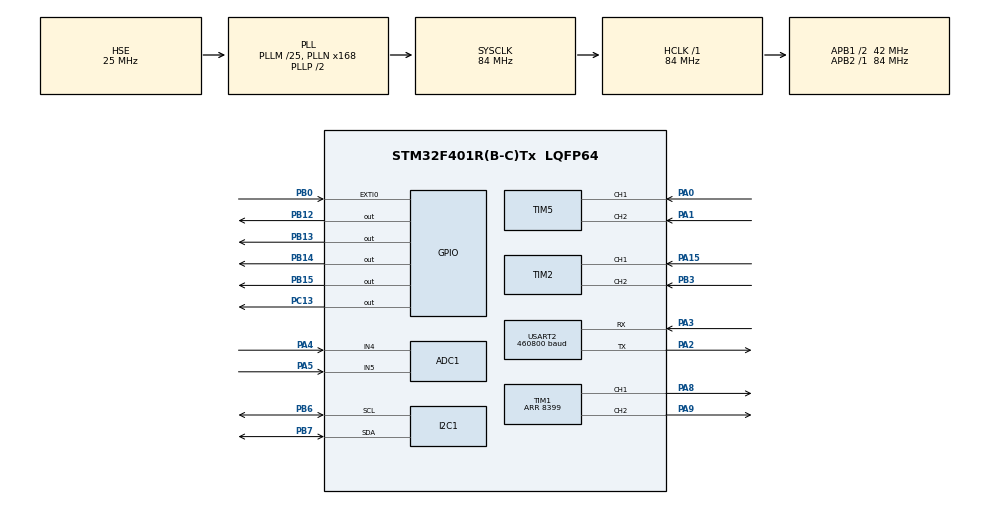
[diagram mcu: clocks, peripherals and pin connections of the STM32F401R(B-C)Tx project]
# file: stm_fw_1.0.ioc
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ADC1.Channel-0\#ChannelRegularConversion=ADC_CHANNEL_4
ADC1.Channel-1\#ChannelRegularConversion=ADC_CHANNEL_4
ADC1.ContinuousConvMode=ENABLE
ADC1.NbrOfConversion=2
ADC1.NbrOfConversionFlag=1
ADC1.Rank-0\#ChannelRegularConversion=1
ADC1.Rank-1\#ChannelRegularConversion=2
ADC1.SamplingTime-0\#ChannelRegularConversion=ADC_SAMPLETIME_3CYCLES
ADC1.SamplingTime-1\#ChannelRegularConversion=ADC_SAMPLETIME_3CYCLES
ADC1.ScanConvMode=ENABLE
ADC1.master=1
Dma.ADC1.3.Direction=DMA_PERIPH_TO_MEMORY
Dma.ADC1.3.FIFOMode=DMA_FIFOMODE_DISABLE
Dma.ADC1.3.Instance=DMA2_Stream0
Dma.ADC1.3.MemDataAlignment=DMA_MDATAALIGN_HALFWORD
Dma.ADC1.3.MemInc=DMA_MINC_ENABLE
Dma.ADC1.3.Mode=DMA_CIRCULAR
Dma.ADC1.3.PeriphDataAlignment=DMA_PDATAALIGN_HALFWORD
Dma.ADC1.3.PeriphInc=DMA_PINC_DISABLE
Dma.ADC1.3.Priority=DMA_PRIORITY_LOW
Dma.I2C1_RX.0.Direction=DMA_PERIPH_TO_MEMORY
Dma.I2C1_RX.0.FIFOMode=DMA_FIFOMODE_DISABLE
Dma.I2C1_RX.0.Instance=DMA1_Stream0
Dma.I2C1_RX.0.MemDataAlignment=DMA_MDATAALIGN_BYTE
Dma.I2C1_RX.0.MemInc=DMA_MINC_ENABLE
Dma.I2C1_RX.0.Mode=DMA_NORMAL
Dma.I2C1_RX.0.PeriphDataAlignment=DMA_PDATAALIGN_BYTE
Dma.I2C1_RX.0.PeriphInc=DMA_PINC_DISABLE
Dma.I2C1_RX.0.Priority=DMA_PRIORITY_MEDIUM
Dma.Request0=I2C1_RX
Dma.Request1=USART2_RX
Dma.Request2=USART2_TX
Dma.Request3=ADC1
Dma.USART2_RX.1.Direction=DMA_PERIPH_TO_MEMORY
Dma.USART2_RX.1.FIFOMode=DMA_FIFOMODE_DISABLE
Dma.USART2_RX.1.Instance=DMA1_Stream5
Dma.USART2_RX.1.MemDataAlignment=DMA_MDATAALIGN_BYTE
Dma.USART2_RX.1.MemInc=DMA_MINC_ENABLE
Dma.USART2_RX.1.Mode=DMA_CIRCULAR
Dma.USART2_RX.1.PeriphDataAlignment=DMA_PDATAALIGN_BYTE
Dma.USART2_RX.1.PeriphInc=DMA_PINC_DISABLE
Dma.USART2_RX.1.Priority=DMA_PRIORITY_HIGH
Dma.USART2_TX.2.Direction=DMA_MEMORY_TO_PERIPH
Dma.USART2_TX.2.FIFOMode=DMA_FIFOMODE_DISABLE
Dma.USART2_TX.2.Instance=DMA1_Stream6
Dma.USART2_TX.2.MemDataAlignment=DMA_MDATAALIGN_BYTE
Dma.USART2_TX.2.MemInc=DMA_MINC_ENABLE
Dma.USART2_TX.2.Mode=DMA_NORMAL
Dma.USART2_TX.2.PeriphDataAlignment=DMA_PDATAALIGN_BYTE
Dma.USART2_TX.2.PeriphInc=DMA_PINC_DISABLE
Dma.USART2_TX.2.Priority=DMA_PRIORITY_MEDIUM
I2C1.I2C_Mode=I2C_Fast
Mcu.Family=STM32F4
Mcu.Name=STM32F401R(B-C)Tx
Mcu.Package=LQFP64
NVIC.DMA1_Stream0_IRQn=true\:0\:0\:false\:false\:true\:false\:true\:true
NVIC.DMA1_Stream5_IRQn=true\:0\:0\:false\:false\:true\:false\:true\:true
NVIC.DMA1_Stream6_IRQn=true\:0\:0\:false\:false\:true\:false\:true\:true
NVIC.DMA2_Stream0_IRQn=true\:0\:0\:false\:false\:true\:false\:true\:true
NVIC.EXTI0_IRQn=true\:0\:0\:false\:false\:true\:true\:true\:true
NVIC.PriorityGroup=NVIC_PRIORITYGROUP_4
NVIC.TIM1_TRG_COM_TIM11_IRQn=true\:15\:0\:false\:false\:true\:false\:true\:true
NVIC.TIM3_IRQn=true\:0\:0\:false\:false\:true\:true\:true\:true
NVIC.TIM4_IRQn=true\:0\:0\:false\:false\:true\:true\:true\:true
NVIC.TimeBase=TIM1_TRG_COM_TIM11_IRQn
NVIC.TimeBaseIP=TIM11
NVIC.USART2_IRQn=true\:0\:0\:false\:false\:true\:true\:true\:true
PA0-WKUP.Signal=S_TIM5_CH1
PA1.Signal=S_TIM5_CH2
PA13.Mode=Serial_Wire
PA13.Signal=SYS_JTMS-SWDIO
PA14.Mode=Serial_Wire
PA14.Signal=SYS_JTCK-SWCLK
PA15.Signal=S_TIM2_CH1_ETR
PA2.Mode=Asynchronous
PA2.Signal=USART2_TX
PA3.Mode=Asynchronous
PA3.Signal=USART2_RX
PA4.Signal=ADCx_IN4
PA5.Signal=ADCx_IN5
PA8.Signal=S_TIM1_CH1
PA9.Signal=S_TIM1_CH2
PB0.Signal=GPXTI0
PB12.Signal=GPIO_Output
PB13.Signal=GPIO_Output
PB14.Signal=GPIO_Output
PB15.Signal=GPIO_Output
PB3.Signal=S_TIM2_CH2
PB6.Mode=I2C
PB6.Signal=I2C1_SCL
PB7.Mode=I2C
PB7.Signal=I2C1_SDA
PC13-ANTI_TAMP.Signal=GPIO_Output
PH0\ -\ OSC_IN.Mode=HSE-External-Oscillator
PH0\ -\ OSC_IN.Signal=RCC_OSC_IN
PH1\ -\ OSC_OUT.Mode=HSE-External-Oscillator
PH1\ -\ OSC_OUT.Signal=RCC_OSC_OUT
ProjectManager.HeapSize=0x200
ProjectManager.StackSize=0x400
ProjectManager.TargetToolchain=STM32CubeIDE
RCC.48MHZClocksFreq_Value=42000000
RCC.AHBFreq_Value=84000000
RCC.APB1CLKDivider=RCC_HCLK_DIV2
RCC.APB1Freq_Value=42000000
RCC.APB1TimFreq_Value=84000000
RCC.APB2Freq_Value=84000000
RCC.APB2TimFreq_Value=84000000
RCC.CortexFreq_Value=84000000
RCC.HCLKFreq_Value=84000000
RCC.HSE_VALUE=25000000
RCC.HSI_VALUE=16000000
RCC.LSE_VALUE=32768
RCC.PLLM=25
RCC.PLLN=168
RCC.PLLSourceVirtual=RCC_PLLSOURCE_HSE
RCC.SYSCLKFreq_VALUE=84000000
RCC.SYSCLKSource=RCC_SYSCLKSOURCE_PLLCLK
RCC.VCOOutputFreq_Value=168000000
SH.ADCx_IN4.0=ADC1_IN4,IN4
SH.ADCx_IN5.0=ADC1_IN5,IN5
SH.S_TIM1_CH1.0=TIM1_CH1,PWM Generation1 CH1
SH.S_TIM1_CH2.0=TIM1_CH2,PWM Generation2 CH2
SH.S_TIM2_CH1_ETR.0=TIM2_CH1,Encoder_Interface
SH.S_TIM2_CH2.0=TIM2_CH2,Encoder_Interface
SH.S_TIM5_CH1.0=TIM5_CH1,Encoder_Interface
SH.S_TIM5_CH2.0=TIM5_CH2,Encoder_Interface
TIM1.Channel-PWM\ Generation1\ CH1=TIM_CHANNEL_1
TIM1.Channel-PWM\ Generation2\ CH2=TIM_CHANNEL_2
TIM1.Period=8399
TIM2.EncoderMode=TIM_ENCODERMODE_TI12
TIM3.Prescaler=83
TIM4.AutoReloadPreload=TIM_AUTORELOAD_PRELOAD_ENABLE
TIM4.Period=9999
TIM4.Prescaler=83
TIM5.EncoderMode=TIM_ENCODERMODE_TI12
USART2.BaudRate=460800
USART2.VirtualMode=VM_ASYNC
VP_SYS_VS_tim11.Mode=TIM11
VP_TIM1_VS_ClockSourceINT.Mode=Internal
VP_TIM3_VS_ClockSourceINT.Mode=Internal
VP_TIM4_VS_ClockSourceINT.Mode=Internal
board=custom

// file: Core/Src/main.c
/* USER CODE BEGIN Header */
/**
  ******************************************************************************
  * @file           : main.c
  * @brief          : Main program body
  ******************************************************************************
  * @attention
  *
  * Copyright (c) 2026 STMicroelectronics.
  * All rights reserved.
  *
  * This software is licensed under terms that can be found in the LICENSE file
  * in the root directory of this software component.
  * If no LICENSE file comes with this software, it is provided AS-IS.
  *
  ******************************************************************************
  */
/* USER CODE END Header */
#include "main.h"

/* USER CODE BEGIN Includes */
#include <string.h>
/* USER CODE END Includes */

/* USER CODE BEGIN PTD */
typedef struct {
    float Kp, Ki, Kd;
    float integral;
    float last_error;
    float out_min, out_max;
} PID_TypeDef;

typedef struct __attribute__((packed)) {
    uint16_t header;      // 2 bytes: 0xABCD
    uint32_t timestamp;   // INSTANTE DE LA INT DE LA IMU

    int32_t  enc_l;       // 4 bytes
    int32_t  enc_r;       // 4 bytes

    int16_t  accel[3];    // 6 bytes:
    int16_t  gyro[3];     // 6 bytes
    int16_t  magnet[3];   // 6 bytes

    uint16_t batt_v;      // 2 bytes
    uint16_t batt_curr;   // 2 bytes

    uint8_t  flags;       // 1 byte: BIT0 = MAGNET UPDATED, BIT1 = BATT UPDATED, BIT3 = TRIGGER FOTO
    uint8_t  checksum;    // 1 byte: XOR DE TODOS LOS BYTES DEL PAQUETE
} Telemetry_t;

typedef struct __attribute__((packed)) {
    uint16_t header;
    float    target_vel_l;
    float    target_vel_r;
    uint8_t  checksum;
} Command_t;

/* USER CODE END PTD */

/* USER CODE BEGIN PD */
#define ICM20948_ADDR (0x69 << 1)
#define MAG_ADDR      (0x0C << 1)

#define AIN1_PIN GPIO_PIN_13
#define AIN1_PORT GPIOB
#define AIN2_PIN GPIO_PIN_12
#define AIN2_PORT GPIOB

#define BIN1_PIN GPIO_PIN_14
#define BIN1_PORT GPIOB
#define BIN2_PIN GPIO_PIN_15
#define BIN2_PORT GPIOB

#define CMD_WATCHDOG_TIMEOUT 500

/* USER CODE END PD */

ADC_HandleTypeDef hadc1;
DMA_HandleTypeDef hdma_adc1;

I2C_HandleTypeDef hi2c1;
DMA_HandleTypeDef hdma_i2c1_rx;

TIM_HandleTypeDef htim1;
TIM_HandleTypeDef htim2;
TIM_HandleTypeDef htim3;
TIM_HandleTypeDef htim4;
TIM_HandleTypeDef htim5;

UART_HandleTypeDef huart2;
DMA_HandleTypeDef hdma_usart2_rx;
DMA_HandleTypeDef hdma_usart2_tx;

/* USER CODE BEGIN PV */
// PID
PID_TypeDef pid_l = {40.0f, 2.0f, 0.0f, 0.0f, 0.0f, -8399.0f, 8399.0f};
PID_TypeDef pid_r = {40.0f, 2.0f, 0.0f, 0.0f, 0.0f, -8399.0f, 8399.0f};

// TELEMETRIA
Telemetry_t tx_buffer;
volatile uint8_t uart_ready = 1;

// IMU
volatile int16_t imu_accel_x, imu_accel_y, imu_accel_z;
volatile int16_t imu_gyro_x,  imu_gyro_y,  imu_gyro_z;
volatile int16_t mag_x, mag_y, mag_z;
volatile uint32_t last_imu_ts    = 0;
volatile uint32_t last_mag_bat_ts = 0;
volatile uint8_t  imu_data_ready_flag = 0;

// ENCODERS
volatile int32_t snapshot_enc_l = 0;
volatile int32_t snapshot_enc_r = 0;
int32_t prev_enc_l = 0;
int32_t prev_enc_r = 0;

// ADC
uint16_t adc_buffer[2];

// UART RX
Command_t  rx_cmd;
volatile float setpoint_l = 0.0f, setpoint_r = 0.0f;
uint8_t raw_rx_buffer[sizeof(Command_t)];

// TIMING
uint32_t last_led_tick  = 0;
uint32_t last_slow_loop = 0;

//WATCHDOG CONSIGNA VELOCIDAD
volatile uint32_t last_cmd_time = 0;

/* USER CODE END PV */

void SystemClock_Config(void);
static void MX_GPIO_Init(void);
static void MX_DMA_Init(void);
static void MX_ADC1_Init(void);
static void MX_TIM1_Init(void);
static void MX_TIM2_Init(void);
static void MX_TIM3_Init(void);
static void MX_TIM4_Init(void);
static void MX_TIM5_Init(void);
static void MX_I2C1_Init(void);
static void MX_USART2_UART_Init(void);
/* USER CODE BEGIN PFP */
void build_telemetry_packet(void);

/* USER CODE END PFP */

/* USER CODE BEGIN 0 */
//PID
float PID_Compute(PID_TypeDef *pid, float setpoint, float measured) {
    float error = setpoint - measured;
    float P = pid->Kp * error;
    pid->integral += error;

    // Anti-windup simple
    if (pid->integral > pid->out_max) pid->integral = pid->out_max;
    else if (pid->integral < pid->out_min) pid->integral = pid->out_min;

    float I = pid->Ki * pid->integral;
    float D = pid->Kd * (error - pid->last_error);
    pid->last_error = error;

    float output = P + I + D;
    if (output > pid->out_max) output = pid->out_max;
    else if (output < pid->out_min) output = pid->out_min;
    return output;
}
//CHECKSUM
uint8_t calculate_checksum(uint8_t* data, uint16_t len) {
    uint8_t checksum = 0;
    for(uint16_t i = 0; i < len; i++) {
        checksum ^= data[i];
    }
    return checksum;
}
//DRIVER IMU ICM-20948
void ICM20948_Init(void) {
    uint8_t data;
    // 1. RESET INTEGRAL
    data = 0x80; // Reset bit
    HAL_I2C_Mem_Write(&hi2c1, ICM20948_ADDR, 0x06, 1, &data, 1, 10); // PWR_MGMT_1
    HAL_Delay(50);

    // SELECCIÓN DE RELOJ AUTOMÁTICO
    data = 0x01; // Auto clock select
    HAL_I2C_Mem_Write(&hi2c1, ICM20948_ADDR, 0x06, 1, &data, 1, 10); // PWR_MGMT_1
    HAL_Delay(10);

    data = 0x00;
    HAL_I2C_Mem_Write(&hi2c1, ICM20948_ADDR, 0x7F, 1, &data, 1, 10); // REG_BANK_SEL

    // CONFIGURAR PIN DE INTERRUPCIÓN Y BYPASS
    data = 0x12;
    HAL_I2C_Mem_Write(&hi2c1, ICM20948_ADDR, 0x0F, 1, &data, 1, 10); // INT_PIN_CFG

    // ACTIVAR INTERRUPCIÓN
    data = 0x01;
    HAL_I2C_Mem_Write(&hi2c1, ICM20948_ADDR, 0x11, 1, &data, 1, 10); // INT_ENABLE_1

    // CAMBIAR A BANCO 2 PARA CONFIGURAR IMU
    data = 0x20;
    HAL_I2C_Mem_Write(&hi2c1, ICM20948_ADDR, 0x7F, 1, &data, 1, 10); // REG_BANK_SEL

    // CONFIGURACIÓN GYRO
    data = 0x01;
    HAL_I2C_Mem_Write(&hi2c1, ICM20948_ADDR, 0x01, 1, &data, 1, 10); // GYRO_CONFIG_1

    // ODR: 1125 / (1 + 10) = 102.2 HZ
    data = 0x0A;
    HAL_I2C_Mem_Write(&hi2c1, ICM20948_ADDR, 0x00, 1, &data, 1, 10); // GYRO_SMPLRT_DIV

    // CONFIGURACIÓN ACCEL
    data = 0x01;
    HAL_I2C_Mem_Write(&hi2c1, ICM20948_ADDR, 0x14, 1, &data, 1, 10); // ACCEL_CONFIG

    // ODR: 1125 / (1 + 10) = 102.2 HZ
    data = 0x00; HAL_I2C_Mem_Write(&hi2c1, ICM20948_ADDR, 0x10, 1, &data, 1, 10); // MSB
    data = 0x0A; HAL_I2C_Mem_Write(&hi2c1, ICM20948_ADDR, 0x11, 1, &data, 1, 10); // LSB

    // VOLVER AL BANCO 0
    data = 0x00;
    HAL_I2C_Mem_Write(&hi2c1, ICM20948_ADDR, 0x7F, 1, &data, 1, 10);

    // CONFIGURAR MAGNETOMETRO
    data = 0x08;
    HAL_I2C_Mem_Write(&hi2c1, MAG_ADDR, 0x31, 1, &data, 1, 10);
}
void IMU_Read_Fast(void) {
    uint8_t raw_data[12];
    // LECTURA ACCEL Y GYRO
    if(HAL_I2C_Mem_Read(&hi2c1, ICM20948_ADDR, 0x2D, 1, raw_data, 12, 5) == HAL_OK) {
        imu_accel_x = (int16_t)(raw_data[0] << 8 | raw_data[1]);
        imu_accel_y = (int16_t)(raw_data[2] << 8 | raw_data[3]);
        imu_accel_z = (int16_t)(raw_data[4] << 8 | raw_data[5]);
        imu_gyro_x  = (int16_t)(raw_data[6] << 8 | raw_data[7]);
        imu_gyro_y  = (int16_t)(raw_data[8] << 8 | raw_data[9]);
        imu_gyro_z  = (int16_t)(raw_data[10] << 8 | raw_data[11]);
    }
}
void IMU_Read_Mag(void) {
    uint8_t mag_data[6];
    // LECTURA MAGNET
    if(HAL_I2C_Mem_Read(&hi2c1, MAG_ADDR, 0x11, 1, mag_data, 6, 2) == HAL_OK) {
        mag_x = (int16_t)(mag_data[1] << 8 | mag_data[0]);
        mag_y = (int16_t)(mag_data[3] << 8 | mag_data[2]);
        mag_z = (int16_t)(mag_data[5] << 8 | mag_data[4]);

        uint8_t dummy;
        HAL_I2C_Mem_Read(&hi2c1, MAG_ADDR, 0x18, 1, &dummy, 1, 1);
    }
}

/* USER CODE END 0 */

int main(void)
{

  /* MCU Configuration--------------------------------------------------------*/

  /* Reset of all peripherals, Initializes the Flash interface and the Systick. */
  HAL_Init();

  /* Configure the system clock */
  SystemClock_Config();

  /* Initialize all configured peripherals */
  MX_GPIO_Init();
  MX_DMA_Init();
  MX_ADC1_Init();
  MX_TIM1_Init();
  MX_TIM2_Init();
  MX_TIM3_Init();
  MX_TIM4_Init();
  MX_TIM5_Init();
  MX_I2C1_Init();
  MX_USART2_UART_Init();
  /* USER CODE BEGIN 2 */
  // INICIAR CONTADOR ENCODERS
  HAL_TIM_Encoder_Start(&htim2, TIM_CHANNEL_ALL);
  HAL_TIM_Encoder_Start(&htim5, TIM_CHANNEL_ALL);

  // INICIAR TIMER3 PARA TIMESTAMPS PRECISOS (1MHZ)
  HAL_TIM_Base_Start(&htim3);

  // INICIAR TIMER4 PARA PID (1KHZ)
  HAL_TIM_Base_Start_IT(&htim4);

  // INICIAR TIMER1 PARA PWM (DC INICIAL AL 0%)
  HAL_TIM_PWM_Start(&htim1, TIM_CHANNEL_1);
  HAL_TIM_PWM_Start(&htim1, TIM_CHANNEL_2);

  // INICIAR ADC POR DMA
  HAL_ADC_Start_DMA(&hadc1, (uint32_t*)adc_buffer, 2);

  // INICIAR RECEPCION POR UART2
  HAL_UART_Receive_DMA(&huart2, raw_rx_buffer, sizeof(Command_t));

  // INICIALIZACION CONFIGURACION IMU
  ICM20948_Init();

  /* USER CODE END 2 */

  /* Infinite loop */
  /* USER CODE BEGIN WHILE */
  while (1)
  {
	  uint32_t current_time = HAL_GetTick();

	  // LED BLINKING PLACA
	  if (current_time - last_led_tick >= 500) {
		  last_led_tick = current_time;
		  HAL_GPIO_TogglePin(GPIOC, GPIO_PIN_13);
	  }

	  // WATCHDOG VELOCIDAD
		if (current_time - last_cmd_time > CMD_WATCHDOG_TIMEOUT) {
			setpoint_l = 0.0f;
			setpoint_r = 0.0f;
		}

	  // LECTURA MAGNETOMETRO Y BATERIA
	  if (current_time - last_slow_loop >= 20) {
		  last_slow_loop = current_time;
		  IMU_Read_Mag();

		  tx_buffer.batt_v = adc_buffer[0];
		  tx_buffer.batt_curr = adc_buffer[1];

		  // FLAG MAGNET Y BATERIA ACTULIZADOS
		  tx_buffer.flags |= 0x03;
	  }

	  // GESTIÓN DE TELEMETRIA (CUANDO INT DE LA IMU, EL CB PONE FLAG A 1)
	  if (imu_data_ready_flag == 1) {
		  imu_data_ready_flag = 0;

		  // LECTURA ACCEL Y GYRO
		  IMU_Read_Fast();

		  // SI UART READY SE ENVIA
		  if(uart_ready) {
			  uart_ready = 0;
			  build_telemetry_packet();
			  HAL_UART_Transmit_DMA(&huart2, (uint8_t*)&tx_buffer, sizeof(Telemetry_t));
			  tx_buffer.flags = 0; // LIMPIAR FLAGS DESPUES DE ENVIO
		  }
	  }
    /* USER CODE END WHILE */

  }
}

void SystemClock_Config(void)
{
  RCC_OscInitTypeDef RCC_OscInitStruct = {0};
  RCC_ClkInitTypeDef RCC_ClkInitStruct = {0};

  /** Configure the main internal regulator output voltage
  */
  __HAL_RCC_PWR_CLK_ENABLE();
  __HAL_PWR_VOLTAGESCALING_CONFIG(PWR_REGULATOR_VOLTAGE_SCALE2);

  /** Initializes the RCC Oscillators according to the specified parameters
  * in the RCC_OscInitTypeDef structure.
  */
  RCC_OscInitStruct.OscillatorType = RCC_OSCILLATORTYPE_HSE;
  RCC_OscInitStruct.HSEState = RCC_HSE_ON;
  RCC_OscInitStruct.PLL.PLLState = RCC_PLL_ON;
  RCC_OscInitStruct.PLL.PLLSource = RCC_PLLSOURCE_HSE;
  RCC_OscInitStruct.PLL.PLLM = 25;
  RCC_OscInitStruct.PLL.PLLN = 168;
  RCC_OscInitStruct.PLL.PLLP = RCC_PLLP_DIV2;
  RCC_OscInitStruct.PLL.PLLQ = 4;
  if (HAL_RCC_OscConfig(&RCC_OscInitStruct) != HAL_OK)
  {
    Error_Handler();
  }

  /** Initializes the CPU, AHB and APB buses clocks
  */
  RCC_ClkInitStruct.ClockType = RCC_CLOCKTYPE_HCLK|RCC_CLOCKTYPE_SYSCLK
                              |RCC_CLOCKTYPE_PCLK1|RCC_CLOCKTYPE_PCLK2;
  RCC_ClkInitStruct.SYSCLKSource = RCC_SYSCLKSOURCE_PLLCLK;
  RCC_ClkInitStruct.AHBCLKDivider = RCC_SYSCLK_DIV1;
  RCC_ClkInitStruct.APB1CLKDivider = RCC_HCLK_DIV2;
  RCC_ClkInitStruct.APB2CLKDivider = RCC_HCLK_DIV1;

  if (HAL_RCC_ClockConfig(&RCC_ClkInitStruct, FLASH_LATENCY_2) != HAL_OK)
  {
    Error_Handler();
  }
}

static void MX_ADC1_Init(void)
{

  ADC_ChannelConfTypeDef sConfig = {0};

  /** Configure the global features of the ADC (Clock, Resolution, Data Alignment and number of conversion)
  */
  hadc1.Instance = ADC1;
  hadc1.Init.ClockPrescaler = ADC_CLOCK_SYNC_PCLK_DIV4;
  hadc1.Init.Resolution = ADC_RESOLUTION_12B;
  hadc1.Init.ScanConvMode = ENABLE;
  hadc1.Init.ContinuousConvMode = ENABLE;
  hadc1.Init.DiscontinuousConvMode = DISABLE;
  hadc1.Init.ExternalTrigConvEdge = ADC_EXTERNALTRIGCONVEDGE_NONE;
  hadc1.Init.ExternalTrigConv = ADC_SOFTWARE_START;
  hadc1.Init.DataAlign = ADC_DATAALIGN_RIGHT;
  hadc1.Init.NbrOfConversion = 2;
  hadc1.Init.DMAContinuousRequests = DISABLE;
  hadc1.Init.EOCSelection = ADC_EOC_SINGLE_CONV;
  if (HAL_ADC_Init(&hadc1) != HAL_OK)
  {
    Error_Handler();
  }

  /** Configure for the selected ADC regular channel its corresponding rank in the sequencer and its sample time.
  */
  sConfig.Channel = ADC_CHANNEL_4;
  sConfig.Rank = 1;
  sConfig.SamplingTime = ADC_SAMPLETIME_3CYCLES;
  if (HAL_ADC_ConfigChannel(&hadc1, &sConfig) != HAL_OK)
  {
    Error_Handler();
  }

  /** Configure for the selected ADC regular channel its corresponding rank in the sequencer and its sample time.
  */
  sConfig.Rank = 2;
  if (HAL_ADC_ConfigChannel(&hadc1, &sConfig) != HAL_OK)
  {
    Error_Handler();
  }

}

static void MX_I2C1_Init(void)
{

  hi2c1.Instance = I2C1;
  hi2c1.Init.ClockSpeed = 400000;
  hi2c1.Init.DutyCycle = I2C_DUTYCYCLE_2;
  hi2c1.Init.OwnAddress1 = 0;
  hi2c1.Init.AddressingMode = I2C_ADDRESSINGMODE_7BIT;
  hi2c1.Init.DualAddressMode = I2C_DUALADDRESS_DISABLE;
  hi2c1.Init.OwnAddress2 = 0;
  hi2c1.Init.GeneralCallMode = I2C_GENERALCALL_DISABLE;
  hi2c1.Init.NoStretchMode = I2C_NOSTRETCH_DISABLE;
  if (HAL_I2C_Init(&hi2c1) != HAL_OK)
  {
    Error_Handler();
  }

}

static void MX_TIM1_Init(void)
{

  TIM_ClockConfigTypeDef sClockSourceConfig = {0};
  TIM_MasterConfigTypeDef sMasterConfig = {0};
  TIM_OC_InitTypeDef sConfigOC = {0};
  TIM_BreakDeadTimeConfigTypeDef sBreakDeadTimeConfig = {0};

  htim1.Instance = TIM1;
  htim1.Init.Prescaler = 0;
  htim1.Init.CounterMode = TIM_COUNTERMODE_UP;
  htim1.Init.Period = 8399;
  htim1.Init.ClockDivision = TIM_CLOCKDIVISION_DIV1;
  htim1.Init.RepetitionCounter = 0;
  htim1.Init.AutoReloadPreload = TIM_AUTORELOAD_PRELOAD_DISABLE;
  if (HAL_TIM_Base_Init(&htim1) != HAL_OK)
  {
    Error_Handler();
  }
  sClockSourceConfig.ClockSource = TIM_CLOCKSOURCE_INTERNAL;
  if (HAL_TIM_ConfigClockSource(&htim1, &sClockSourceConfig) != HAL_OK)
  {
    Error_Handler();
  }
  if (HAL_TIM_PWM_Init(&htim1) != HAL_OK)
  {
    Error_Handler();
  }
  sMasterConfig.MasterOutputTrigger = TIM_TRGO_RESET;
  sMasterConfig.MasterSlaveMode = TIM_MASTERSLAVEMODE_DISABLE;
  if (HAL_TIMEx_MasterConfigSynchronization(&htim1, &sMasterConfig) != HAL_OK)
  {
    Error_Handler();
  }
  sConfigOC.OCMode = TIM_OCMODE_PWM1;
  sConfigOC.Pulse = 0;
  sConfigOC.OCPolarity = TIM_OCPOLARITY_HIGH;
  sConfigOC.OCNPolarity = TIM_OCNPOLARITY_HIGH;
  sConfigOC.OCFastMode = TIM_OCFAST_DISABLE;
  sConfigOC.OCIdleState = TIM_OCIDLESTATE_RESET;
  sConfigOC.OCNIdleState = TIM_OCNIDLESTATE_RESET;
  if (HAL_TIM_PWM_ConfigChannel(&htim1, &sConfigOC, TIM_CHANNEL_1) != HAL_OK)
  {
    Error_Handler();
  }
  if (HAL_TIM_PWM_ConfigChannel(&htim1, &sConfigOC, TIM_CHANNEL_2) != HAL_OK)
  {
    Error_Handler();
  }
  sBreakDeadTimeConfig.OffStateRunMode = TIM_OSSR_DISABLE;
  sBreakDeadTimeConfig.OffStateIDLEMode = TIM_OSSI_DISABLE;
  sBreakDeadTimeConfig.LockLevel = TIM_LOCKLEVEL_OFF;
  sBreakDeadTimeConfig.DeadTime = 0;
  sBreakDeadTimeConfig.BreakState = TIM_BREAK_DISABLE;
  sBreakDeadTimeConfig.BreakPolarity = TIM_BREAKPOLARITY_HIGH;
  sBreakDeadTimeConfig.AutomaticOutput = TIM_AUTOMATICOUTPUT_DISABLE;
  if (HAL_TIMEx_ConfigBreakDeadTime(&htim1, &sBreakDeadTimeConfig) != HAL_OK)
  {
    Error_Handler();
  }
  HAL_TIM_MspPostInit(&htim1);

}

static void MX_TIM2_Init(void)
{

  TIM_Encoder_InitTypeDef sConfig = {0};
  TIM_MasterConfigTypeDef sMasterConfig = {0};

  htim2.Instance = TIM2;
  htim2.Init.Prescaler = 0;
  htim2.Init.CounterMode = TIM_COUNTERMODE_UP;
  htim2.Init.Period = 4294967295;
  htim2.Init.ClockDivision = TIM_CLOCKDIVISION_DIV1;
  htim2.Init.AutoReloadPreload = TIM_AUTORELOAD_PRELOAD_DISABLE;
  sConfig.EncoderMode = TIM_ENCODERMODE_TI12;
  sConfig.IC1Polarity = TIM_ICPOLARITY_RISING;
  sConfig.IC1Selection = TIM_ICSELECTION_DIRECTTI;
  sConfig.IC1Prescaler = TIM_ICPSC_DIV1;
  sConfig.IC1Filter = 0;
  sConfig.IC2Polarity = TIM_ICPOLARITY_RISING;
  sConfig.IC2Selection = TIM_ICSELECTION_DIRECTTI;
  sConfig.IC2Prescaler = TIM_ICPSC_DIV1;
  sConfig.IC2Filter = 0;
  if (HAL_TIM_Encoder_Init(&htim2, &sConfig) != HAL_OK)
  {
    Error_Handler();
  }
  sMasterConfig.MasterOutputTrigger = TIM_TRGO_RESET;
  sMasterConfig.MasterSlaveMode = TIM_MASTERSLAVEMODE_DISABLE;
  if (HAL_TIMEx_MasterConfigSynchronization(&htim2, &sMasterConfig) != HAL_OK)
  {
    Error_Handler();
  }

}

static void MX_TIM3_Init(void)
{

  TIM_ClockConfigTypeDef sClockSourceConfig = {0};
  TIM_MasterConfigTypeDef sMasterConfig = {0};

  htim3.Instance = TIM3;
  htim3.Init.Prescaler = 83;
  htim3.Init.CounterMode = TIM_COUNTERMODE_UP;
  htim3.Init.Period = 65535;
  htim3.Init.ClockDivision = TIM_CLOCKDIVISION_DIV1;
  htim3.Init.AutoReloadPreload = TIM_AUTORELOAD_PRELOAD_DISABLE;
  if (HAL_TIM_Base_Init(&htim3) != HAL_OK)
  {
    Error_Handler();
  }
  sClockSourceConfig.ClockSource = TIM_CLOCKSOURCE_INTERNAL;
  if (HAL_TIM_ConfigClockSource(&htim3, &sClockSourceConfig) != HAL_OK)
  {
    Error_Handler();
  }
  sMasterConfig.MasterOutputTrigger = TIM_TRGO_RESET;
  sMasterConfig.MasterSlaveMode = TIM_MASTERSLAVEMODE_DISABLE;
  if (HAL_TIMEx_MasterConfigSynchronization(&htim3, &sMasterConfig) != HAL_OK)
  {
    Error_Handler();
  }

}

static void MX_TIM4_Init(void)
{

  TIM_ClockConfigTypeDef sClockSourceConfig = {0};
  TIM_MasterConfigTypeDef sMasterConfig = {0};

  htim4.Instance = TIM4;
  htim4.Init.Prescaler = 83;
  htim4.Init.CounterMode = TIM_COUNTERMODE_UP;
  htim4.Init.Period = 9999;
  htim4.Init.ClockDivision = TIM_CLOCKDIVISION_DIV1;
  htim4.Init.AutoReloadPreload = TIM_AUTORELOAD_PRELOAD_ENABLE;
  if (HAL_TIM_Base_Init(&htim4) != HAL_OK)
  {
    Error_Handler();
  }
  sClockSourceConfig.ClockSource = TIM_CLOCKSOURCE_INTERNAL;
  if (HAL_TIM_ConfigClockSource(&htim4, &sClockSourceConfig) != HAL_OK)
  {
    Error_Handler();
  }
  sMasterConfig.MasterOutputTrigger = TIM_TRGO_RESET;
  sMasterConfig.MasterSlaveMode = TIM_MASTERSLAVEMODE_DISABLE;
  if (HAL_TIMEx_MasterConfigSynchronization(&htim4, &sMasterConfig) != HAL_OK)
  {
    Error_Handler();
  }

}

static void MX_TIM5_Init(void)
{

  TIM_Encoder_InitTypeDef sConfig = {0};
  TIM_MasterConfigTypeDef sMasterConfig = {0};

  htim5.Instance = TIM5;
  htim5.Init.Prescaler = 0;
  htim5.Init.CounterMode = TIM_COUNTERMODE_UP;
  htim5.Init.Period = 4294967295;
  htim5.Init.ClockDivision = TIM_CLOCKDIVISION_DIV1;
  htim5.Init.AutoReloadPreload = TIM_AUTORELOAD_PRELOAD_DISABLE;
  sConfig.EncoderMode = TIM_ENCODERMODE_TI12;
  sConfig.IC1Polarity = TIM_ICPOLARITY_RISING;
  sConfig.IC1Selection = TIM_ICSELECTION_DIRECTTI;
  sConfig.IC1Prescaler = TIM_ICPSC_DIV1;
  sConfig.IC1Filter = 0;
  sConfig.IC2Polarity = TIM_ICPOLARITY_RISING;
  sConfig.IC2Selection = TIM_ICSELECTION_DIRECTTI;
  sConfig.IC2Prescaler = TIM_ICPSC_DIV1;
  sConfig.IC2Filter = 0;
  if (HAL_TIM_Encoder_Init(&htim5, &sConfig) != HAL_OK)
  {
    Error_Handler();
  }
  sMasterConfig.MasterOutputTrigger = TIM_TRGO_RESET;
  sMasterConfig.MasterSlaveMode = TIM_MASTERSLAVEMODE_DISABLE;
  if (HAL_TIMEx_MasterConfigSynchronization(&htim5, &sMasterConfig) != HAL_OK)
  {
    Error_Handler();
  }

}

static void MX_USART2_UART_Init(void)
{

  huart2.Instance = USART2;
  huart2.Init.BaudRate = 460800;
  huart2.Init.WordLength = UART_WORDLENGTH_8B;
  huart2.Init.StopBits = UART_STOPBITS_1;
  huart2.Init.Parity = UART_PARITY_NONE;
  huart2.Init.Mode = UART_MODE_TX_RX;
  huart2.Init.HwFlowCtl = UART_HWCONTROL_NONE;
  huart2.Init.OverSampling = UART_OVERSAMPLING_16;
  if (HAL_UART_Init(&huart2) != HAL_OK)
  {
    Error_Handler();
  }

}

static void MX_DMA_Init(void)
{

  /* DMA controller clock enable */
  __HAL_RCC_DMA1_CLK_ENABLE();
  __HAL_RCC_DMA2_CLK_ENABLE();

  /* DMA interrupt init */
  /* DMA1_Stream0_IRQn interrupt configuration */
  HAL_NVIC_SetPriority(DMA1_Stream0_IRQn, 0, 0);
  HAL_NVIC_EnableIRQ(DMA1_Stream0_IRQn);
  /* DMA1_Stream5_IRQn interrupt configuration */
  HAL_NVIC_SetPriority(DMA1_Stream5_IRQn, 0, 0);
  HAL_NVIC_EnableIRQ(DMA1_Stream5_IRQn);
  /* DMA1_Stream6_IRQn interrupt configuration */
  HAL_NVIC_SetPriority(DMA1_Stream6_IRQn, 0, 0);
  HAL_NVIC_EnableIRQ(DMA1_Stream6_IRQn);
  /* DMA2_Stream0_IRQn interrupt configuration */
  HAL_NVIC_SetPriority(DMA2_Stream0_IRQn, 0, 0);
  HAL_NVIC_EnableIRQ(DMA2_Stream0_IRQn);

}

static void MX_GPIO_Init(void)
{
  GPIO_InitTypeDef GPIO_InitStruct = {0};

  /* GPIO Ports Clock Enable */
  __HAL_RCC_GPIOC_CLK_ENABLE();
  __HAL_RCC_GPIOH_CLK_ENABLE();
  __HAL_RCC_GPIOA_CLK_ENABLE();
  __HAL_RCC_GPIOB_CLK_ENABLE();

  /*Configure GPIO pin Output Level */
  HAL_GPIO_WritePin(GPIOC, GPIO_PIN_13, GPIO_PIN_RESET);

  /*Configure GPIO pin Output Level */
  HAL_GPIO_WritePin(GPIOB, GPIO_PIN_12|GPIO_PIN_13|GPIO_PIN_14|GPIO_PIN_15, GPIO_PIN_RESET);

  /*Configure GPIO pin : PC13 */
  GPIO_InitStruct.Pin = GPIO_PIN_13;
  GPIO_InitStruct.Mode = GPIO_MODE_OUTPUT_PP;
  GPIO_InitStruct.Pull = GPIO_NOPULL;
  GPIO_InitStruct.Speed = GPIO_SPEED_FREQ_LOW;
  HAL_GPIO_Init(GPIOC, &GPIO_InitStruct);

  /*Configure GPIO pin : PB0 */
  GPIO_InitStruct.Pin = GPIO_PIN_0;
  GPIO_InitStruct.Mode = GPIO_MODE_IT_RISING;
  GPIO_InitStruct.Pull = GPIO_NOPULL;
  HAL_GPIO_Init(GPIOB, &GPIO_InitStruct);

  /*Configure GPIO pins : PB12 PB13 PB14 PB15 */
  GPIO_InitStruct.Pin = GPIO_PIN_12|GPIO_PIN_13|GPIO_PIN_14|GPIO_PIN_15;
  GPIO_InitStruct.Mode = GPIO_MODE_OUTPUT_PP;
  GPIO_InitStruct.Pull = GPIO_NOPULL;
  GPIO_InitStruct.Speed = GPIO_SPEED_FREQ_LOW;
  HAL_GPIO_Init(GPIOB, &GPIO_InitStruct);

  /* EXTI interrupt init*/
  HAL_NVIC_SetPriority(EXTI0_IRQn, 0, 0);
  HAL_NVIC_EnableIRQ(EXTI0_IRQn);

}

/* USER CODE BEGIN 4 */
// CALLBACK RECEPCIÓN UART (DMA)
void HAL_UART_RxCpltCallback(UART_HandleTypeDef *huart) {
    if(huart->Instance == USART2) {
        // GUARDA RECEPCION EN BUFFER
        Command_t *cmd_ptr = (Command_t*)raw_rx_buffer;

        // COMPROBAR HEADER
        if(cmd_ptr->header == 0xBBBB) {

            // CALCULO CHECKSUM
        	uint8_t calculated_sum = calculate_checksum(raw_rx_buffer, sizeof(Command_t) - 1);

			// COMPRUEBA CHECKSUM
			if(calculated_sum == cmd_ptr->checksum) {
				last_cmd_time = HAL_GetTick(); // RESET WATCHDOG
				// SI CHECKSUM CORRECTO SE GUARDA CONSIGNA RECIBIDA (EN TICKS/S)
				setpoint_l = cmd_ptr->target_vel_l / 100.0f; // CONVERSION TICKS/S A TICKS POR CADA 10MS (YA QUE PID SE EJECUTA A 100HZ)
				setpoint_r = cmd_ptr->target_vel_r / 100.0f;
            }
        }
    }
}
// CALLBACK INTERRUPCION DE LA IMU (EXTI0)
void HAL_GPIO_EXTI_Callback(uint16_t GPIO_Pin) {
    if(GPIO_Pin == GPIO_PIN_0) {
        // CAPTURA DE IMU Y ENCODERS
        last_imu_ts = __HAL_TIM_GET_COUNTER(&htim3);
        snapshot_enc_l = (int32_t)__HAL_TIM_GET_COUNTER(&htim2);
        snapshot_enc_r = (int32_t)__HAL_TIM_GET_COUNTER(&htim5);

        // FLAG: NUEVOS DATOS A ENVIAR
        imu_data_ready_flag = 1;
    }
}
// CALLBACK UART HA TERMINADO DE ENVIAR, VEULVE A ESTAR LISTA
void HAL_UART_TxCpltCallback(UART_HandleTypeDef *huart) {
    if(huart->Instance == USART2) {
        uart_ready = 1;
    }
}

// FUNCIÓN AUXILIAR: CONSTRUCCIÓN DEL PAQUETE
void build_telemetry_packet(void) {
    tx_buffer.header    = 0xABCD;
    tx_buffer.timestamp = last_imu_ts;
    tx_buffer.enc_l     = snapshot_enc_l;
    tx_buffer.enc_r     = snapshot_enc_r;

    tx_buffer.accel[0]  = imu_accel_x;
    tx_buffer.accel[1]  = imu_accel_y;
    tx_buffer.accel[2]  = imu_accel_z;
    tx_buffer.gyro[0]   = imu_gyro_x;
    tx_buffer.gyro[1]   = imu_gyro_y;
    tx_buffer.gyro[2]   = imu_gyro_z;

    tx_buffer.magnet[0] = mag_x;
    tx_buffer.magnet[1] = mag_y;
    tx_buffer.magnet[2] = mag_z;

    // CALCULO CHECKSUM DEL PCKG MENOS DEL ULTIMO BYTE
    tx_buffer.checksum = calculate_checksum((uint8_t*)&tx_buffer, sizeof(Telemetry_t) - 1);
}

/* USER CODE END 4 */

void HAL_TIM_PeriodElapsedCallback(TIM_HandleTypeDef *htim)
{
  if (htim->Instance == TIM11)
  {
    HAL_IncTick();
  }
  /* USER CODE BEGIN Callback 1 */
  if (htim->Instance == TIM4)
  {
      // LEER ENCODERS
      int32_t current_enc_l = (int32_t)__HAL_TIM_GET_COUNTER(&htim2);
      int32_t current_enc_r = (int32_t)__HAL_TIM_GET_COUNTER(&htim5);

      // CALCULAR VELOCIDAD ACTUAL (DELTA)
      float delta_l = (float)((int16_t)(current_enc_l - prev_enc_l));
      float delta_r = (float)((int16_t)(current_enc_r - prev_enc_r));

      prev_enc_l = current_enc_l;
      prev_enc_r = current_enc_r;

      // CALCULAR SALIDA PID
      float out_l = PID_Compute(&pid_l, setpoint_l, delta_l);
      float out_r = PID_Compute(&pid_r, setpoint_r, delta_r);

      // MOTOR IZQUIERDO
      if (out_l >= 0.0f) {
          HAL_GPIO_WritePin(AIN1_PORT, AIN1_PIN, GPIO_PIN_SET);
          HAL_GPIO_WritePin(AIN2_PORT, AIN2_PIN, GPIO_PIN_RESET);
      } else {
          HAL_GPIO_WritePin(AIN1_PORT, AIN1_PIN, GPIO_PIN_RESET);
          HAL_GPIO_WritePin(AIN2_PORT, AIN2_PIN, GPIO_PIN_SET);
          out_l = -out_l; // PWM SIEMPRE POSITIVO
      }

      // MOTOR DERECHO
      if (out_r >= 0.0f) {
          HAL_GPIO_WritePin(BIN1_PORT, BIN1_PIN, GPIO_PIN_SET);
          HAL_GPIO_WritePin(BIN2_PORT, BIN2_PIN, GPIO_PIN_RESET);
      } else {
          HAL_GPIO_WritePin(BIN1_PORT, BIN1_PIN, GPIO_PIN_RESET);
          HAL_GPIO_WritePin(BIN2_PORT, BIN2_PIN, GPIO_PIN_SET);
          out_r = -out_r;
      }

      // LIMITAR Y APLICAR PWM
      if (out_l > 8399.0f) out_l = 8399.0f;
      if (out_r > 8399.0f) out_r = 8399.0f;

      __HAL_TIM_SET_COMPARE(&htim1, TIM_CHANNEL_1, (uint32_t)out_l);
      __HAL_TIM_SET_COMPARE(&htim1, TIM_CHANNEL_2, (uint32_t)out_r);
  }

  /* USER CODE END Callback 1 */
}

void Error_Handler(void)
{
  __disable_irq();
  while (1)
  {
  }
}
